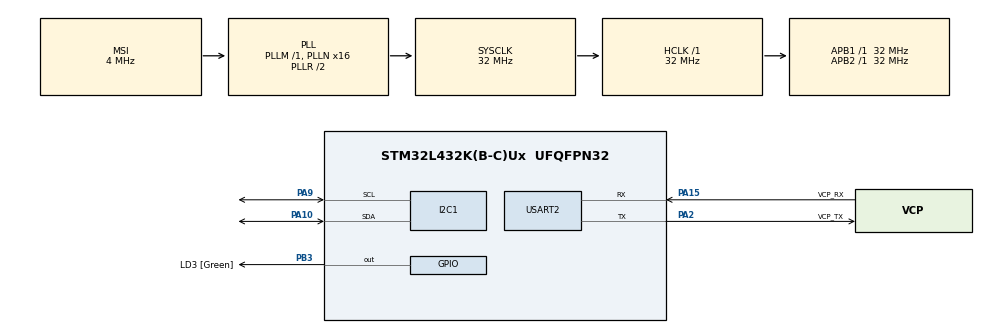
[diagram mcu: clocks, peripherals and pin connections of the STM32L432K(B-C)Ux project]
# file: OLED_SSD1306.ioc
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I2C1.Timing=0x00707CBB
Mcu.Family=STM32L4
Mcu.Name=STM32L432K(B-C)Ux
Mcu.Package=UFQFPN32
NVIC.PriorityGroup=NVIC_PRIORITYGROUP_4
PA0.GPIO_Label=MCO [High speed clock in]
PA0.Mode=HSE-External-Clock-Source-for-LittleOrca
PA0.Signal=RCC_CK_IN
PA10.GPIO_Pu=GPIO_PULLUP
PA10.Mode=I2C
PA10.Signal=I2C1_SDA
PA13\ (JTMS-SWDIO).GPIO_Label=SWDIO
PA13\ (JTMS-SWDIO).Mode=Serial_Wire
PA13\ (JTMS-SWDIO).Signal=SYS_JTMS-SWDIO
PA14\ (JTCK-SWCLK).GPIO_Label=SWCLK
PA14\ (JTCK-SWCLK).Mode=Serial_Wire
PA14\ (JTCK-SWCLK).Signal=SYS_JTCK-SWCLK
PA15\ (JTDI).GPIO_Label=VCP_RX
PA15\ (JTDI).Mode=Asynchronous
PA15\ (JTDI).Signal=USART2_RX
PA2.GPIO_Label=VCP_TX
PA2.Mode=Asynchronous
PA2.Signal=USART2_TX
PA9.GPIO_Pu=GPIO_PULLUP
PA9.Mode=I2C
PA9.Signal=I2C1_SCL
PB3\ (JTDO-TRACESWO).GPIO_Label=LD3 [Green]
PB3\ (JTDO-TRACESWO).Signal=GPIO_Output
PC14-OSC32_IN\ (PC14).Mode=LSE-External-Oscillator
PC14-OSC32_IN\ (PC14).Signal=RCC_OSC32_IN
PC15-OSC32_OUT\ (PC15).Mode=LSE-External-Oscillator
PC15-OSC32_OUT\ (PC15).Signal=RCC_OSC32_OUT
ProjectManager.HeapSize=0x200
ProjectManager.StackSize=0x400
ProjectManager.TargetToolchain=STM32CubeIDE
RCC.AHBFreq_Value=32000000
RCC.APB1Freq_Value=32000000
RCC.APB1TimFreq_Value=32000000
RCC.APB2Freq_Value=32000000
RCC.APB2TimFreq_Value=32000000
RCC.CortexFreq_Value=32000000
RCC.HCLKFreq_Value=32000000
RCC.HSE_VALUE=8000000
RCC.HSI16_VALUE=16000000
RCC.HSI48_VALUE=48000000
RCC.HSI_VALUE=16000000
RCC.MSI_VALUE=4000000
RCC.PLLMUL=RCC_PLLMUL_4
RCC.PLLN=16
RCC.SYSCLKFreq_VALUE=32000000
RCC.SYSCLKSource=RCC_SYSCLKSOURCE_PLLCLK
RCC.VCOOutputFreq_Value=64000000
USART2.VirtualMode-Asynchronous=VM_ASYNC
board=NUCLEO-L432KC

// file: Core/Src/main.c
/* USER CODE BEGIN Header */
/**
  ******************************************************************************
  * @file           : main.c
  * @brief          : Main program body
  ******************************************************************************
  * @attention
  *
  * Copyright (c) 2022 STMicroelectronics.
  * All rights reserved.
  *
  * This software is licensed under terms that can be found in the LICENSE file
  * in the root directory of this software component.
  * If no LICENSE file comes with this software, it is provided AS-IS.
  *
  ******************************************************************************
  */
/* USER CODE END Header */
#include "main.h"

/* USER CODE BEGIN Includes */
#include "OLED_SSD1306.h"
/* USER CODE END Includes */

I2C_HandleTypeDef hi2c1;

UART_HandleTypeDef huart2;

void SystemClock_Config(void);
static void MX_GPIO_Init(void);
static void MX_USART2_UART_Init(void);
static void MX_I2C1_Init(void);
/* USER CODE BEGIN PFP */
//image example
uint8_t image[] = {
0x00, 0x00, 0x00, 0x00, 0x00, 0x00, 0x00, 0x00, 0x00, 0x00, 0x00, 0x00, 0x00, 0x00, 0x00, 0x00,
0x00, 0x00, 0x00, 0x00, 0x00, 0x00, 0x00, 0x00, 0x00, 0x00, 0x00, 0x00, 0x00, 0x00, 0x00, 0x00,
0x00, 0x00, 0x00, 0x00, 0x00, 0x00, 0x00, 0x00, 0x00, 0x00, 0x00, 0x00, 0x00, 0x00, 0x00, 0x00,
0x00, 0x00, 0x00, 0x00, 0x00, 0x00, 0x00, 0x00, 0x00, 0x00, 0x00, 0x00, 0x00, 0x00, 0x00, 0x00,
0x00, 0x00, 0x00, 0x00, 0x00, 0x00, 0x00, 0x00, 0x00, 0x00, 0x00, 0x00, 0x00, 0x00, 0x00, 0x00,
0x00, 0x00, 0x00, 0x00, 0x00, 0x00, 0x00, 0x00, 0x00, 0x00, 0x00, 0x00, 0x00, 0x00, 0x00, 0x00,
0x00, 0x00, 0x00, 0x00, 0x00, 0x00, 0x00, 0x00, 0x00, 0x00, 0x00, 0x00, 0x00, 0x00, 0x00, 0x00,
0x00, 0x00, 0x00, 0x00, 0x00, 0x00, 0x00, 0x00, 0x00, 0x00, 0x00, 0x00, 0x00, 0x00, 0x00, 0x00,
0x00, 0x00, 0x00, 0x00, 0x00, 0x00, 0x00, 0x00, 0x00, 0x00, 0x00, 0x00, 0x00, 0x00, 0x00, 0x00,
0x00, 0x00, 0x00, 0x00, 0x00, 0x00, 0x00, 0x00, 0x00, 0x00, 0x00, 0x00, 0x00, 0x00, 0x00, 0x00,
0x00, 0x00, 0x00, 0x00, 0x00, 0x00, 0x00, 0x00, 0x00, 0x00, 0x00, 0x00, 0x00, 0x00, 0x00, 0x00,
0x00, 0x00, 0x00, 0x00, 0x00, 0x00, 0x00, 0x00, 0x00, 0x00, 0x00, 0x00, 0x00, 0x00, 0x00, 0x00,
0x00, 0x00, 0x00, 0x00, 0x00, 0x00, 0x00, 0x00, 0x00, 0x00, 0x00, 0x00, 0x00, 0x00, 0x00, 0x00,
0x00, 0x00, 0x00, 0x00, 0x00, 0x00, 0x00, 0x3f, 0x80, 0x00, 0x00, 0x00, 0x00, 0x00, 0x00, 0x00,
0x00, 0x00, 0x00, 0x00, 0x00, 0x00, 0x07, 0x80, 0x1e, 0x00, 0x00, 0x00, 0x00, 0x00, 0x00, 0x00,
0x00, 0x00, 0x00, 0x00, 0x00, 0x00, 0x18, 0x00, 0x01, 0x80, 0x00, 0x00, 0x00, 0x00, 0x00, 0x00,
0x00, 0x00, 0x00, 0x00, 0x00, 0x00, 0xc0, 0x00, 0x00, 0x30, 0x00, 0x00, 0x00, 0x00, 0x00, 0x00,
0x00, 0x00, 0x00, 0x00, 0x00, 0x01, 0x00, 0x00, 0x00, 0x0c, 0x00, 0x00, 0x00, 0x00, 0x00, 0x00,
0x00, 0x00, 0x00, 0x00, 0x00, 0x06, 0x00, 0x00, 0x00, 0x02, 0x00, 0x00, 0x00, 0x00, 0x00, 0x00,
0x00, 0x00, 0x00, 0x00, 0x00, 0x08, 0x00, 0x00, 0x00, 0x01, 0x00, 0x00, 0x00, 0x00, 0x00, 0x00,
0x00, 0x00, 0x00, 0x00, 0x00, 0x30, 0x00, 0x00, 0x00, 0x00, 0xc0, 0x00, 0x00, 0x00, 0x00, 0x00,
0x00, 0x00, 0x00, 0x00, 0x00, 0x60, 0x00, 0x00, 0x00, 0x00, 0x40, 0x00, 0x00, 0x00, 0x00, 0x00,
0x00, 0x00, 0x00, 0x00, 0x00, 0x40, 0x00, 0x00, 0x00, 0x00, 0x20, 0x00, 0x00, 0x00, 0x00, 0x00,
0x00, 0x00, 0x00, 0x00, 0x00, 0x80, 0x00, 0x00, 0x00, 0x00, 0x10, 0x00, 0x00, 0x00, 0x00, 0x00,
0x00, 0x00, 0x00, 0x00, 0x00, 0x80, 0x00, 0x00, 0x00, 0x00, 0x08, 0x00, 0x00, 0x00, 0x00, 0x00,
0x00, 0x00, 0x00, 0x00, 0x01, 0x00, 0x00, 0x00, 0x00, 0x00, 0x08, 0x00, 0x00, 0x00, 0x00, 0x00,
0x00, 0x00, 0x00, 0x00, 0x01, 0x00, 0x00, 0x00, 0x00, 0x00, 0x04, 0x00, 0x00, 0x00, 0x00, 0x00,
0x00, 0x00, 0x00, 0x00, 0x02, 0x00, 0x00, 0x30, 0xe0, 0x00, 0x04, 0x00, 0x00, 0x00, 0x00, 0x00,
0x00, 0x00, 0x00, 0x00, 0x02, 0x00, 0x00, 0x78, 0xe0, 0x00, 0x06, 0x00, 0x00, 0x00, 0x00, 0x00,
0x00, 0x00, 0x00, 0x00, 0x02, 0x00, 0x00, 0x78, 0xe0, 0x00, 0x02, 0x00, 0x00, 0x00, 0x00, 0x00,
0x00, 0x00, 0x00, 0x00, 0x02, 0x00, 0x00, 0x30, 0xe0, 0x00, 0x02, 0x00, 0x00, 0x00, 0x00, 0x00,
0x00, 0x00, 0x00, 0x00, 0x04, 0x00, 0x00, 0x00, 0x00, 0x00, 0x03, 0x00, 0x00, 0x00, 0x00, 0x00,
0x00, 0x00, 0x00, 0x00, 0x04, 0x00, 0x00, 0x00, 0x00, 0x00, 0x03, 0x00, 0x00, 0x00, 0x00, 0x00,
0x00, 0x00, 0x00, 0x00, 0x04, 0x00, 0x00, 0x00, 0x00, 0x00, 0x03, 0x00, 0x00, 0x00, 0x00, 0x00,
0x00, 0x00, 0x00, 0x00, 0x04, 0x02, 0x00, 0x00, 0x00, 0x00, 0x03, 0x00, 0x00, 0x00, 0x00, 0x00,
0x00, 0x00, 0x00, 0x00, 0x04, 0x02, 0x00, 0x00, 0x00, 0x00, 0x03, 0x00, 0x00, 0x00, 0x00, 0x00,
0x00, 0x00, 0x00, 0x00, 0x06, 0x02, 0x00, 0x00, 0x00, 0x02, 0x03, 0x00, 0x00, 0x00, 0x00, 0x00,
0x00, 0x00, 0x00, 0x00, 0x02, 0x02, 0x00, 0x00, 0x00, 0x02, 0x02, 0x00, 0x00, 0x00, 0x00, 0x00,
0x00, 0x00, 0x00, 0x00, 0x02, 0x01, 0x00, 0x00, 0x00, 0x02, 0x02, 0x00, 0x00, 0x00, 0x00, 0x00,
0x00, 0x00, 0x00, 0x00, 0x03, 0x01, 0x00, 0x00, 0x00, 0x04, 0x06, 0x00, 0x00, 0x00, 0x00, 0x00,
0x00, 0x00, 0x00, 0x00, 0x01, 0x00, 0x80, 0x00, 0x00, 0x0c, 0x04, 0x00, 0x00, 0x00, 0x00, 0x00,
0x00, 0x00, 0x00, 0x00, 0x01, 0x80, 0x40, 0x00, 0x00, 0x18, 0x04, 0x00, 0x00, 0x00, 0x00, 0x00,
0x00, 0x00, 0x00, 0x00, 0x01, 0x80, 0x20, 0x00, 0x00, 0x30, 0x08, 0x00, 0x00, 0x00, 0x00, 0x00,
0x00, 0x00, 0x00, 0x00, 0x00, 0xc0, 0x18, 0x00, 0x00, 0xc0, 0x08, 0x00, 0x00, 0x00, 0x00, 0x00,
0x00, 0x00, 0x00, 0x00, 0x00, 0x40, 0x07, 0x80, 0x0e, 0x00, 0x10, 0x00, 0x00, 0x00, 0x00, 0x00,
0x00, 0x00, 0x00, 0x00, 0x00, 0x60, 0x00, 0x7f, 0xf0, 0x00, 0x10, 0x00, 0x00, 0x00, 0x00, 0x00,
0x00, 0x00, 0x00, 0x00, 0x00, 0x30, 0x00, 0x00, 0x00, 0x00, 0x60, 0x00, 0x00, 0x00, 0x00, 0x00,
0x00, 0x00, 0x00, 0x00, 0x00, 0x18, 0x00, 0x00, 0x00, 0x00, 0x40, 0x00, 0x00, 0x00, 0x00, 0x00,
0x00, 0x00, 0x00, 0x00, 0x00, 0x06, 0x00, 0x00, 0x00, 0x01, 0x80, 0x00, 0x00, 0x00, 0x00, 0x00,
0x00, 0x00, 0x00, 0x00, 0x00, 0x03, 0x00, 0x00, 0x00, 0x03, 0x00, 0x00, 0x00, 0x00, 0x00, 0x00,
0x00, 0x00, 0x00, 0x00, 0x00, 0x01, 0xc0, 0x00, 0x00, 0x0c, 0x00, 0x00, 0x00, 0x00, 0x00, 0x00,
0x00, 0x00, 0x00, 0x00, 0x00, 0x00, 0x30, 0x00, 0x00, 0x30, 0x00, 0x00, 0x00, 0x00, 0x00, 0x00,
0x00, 0x00, 0x00, 0x00, 0x00, 0x00, 0x0e, 0x00, 0x01, 0xc0, 0x00, 0x00, 0x00, 0x00, 0x00, 0x00,
0x00, 0x00, 0x00, 0x00, 0x00, 0x00, 0x01, 0xf8, 0x3e, 0x00, 0x00, 0x00, 0x00, 0x00, 0x00, 0x00,
0x00, 0x00, 0x00, 0x00, 0x00, 0x00, 0x00, 0x03, 0x00, 0x00, 0x00, 0x00, 0x00, 0x00, 0x00, 0x00,
0x00, 0x00, 0x00, 0x00, 0x00, 0x00, 0x00, 0x00, 0x00, 0x00, 0x00, 0x00, 0x00, 0x00, 0x00, 0x00,
0x00, 0x00, 0x00, 0x00, 0x00, 0x00, 0x00, 0x00, 0x00, 0x00, 0x00, 0x00, 0x00, 0x00, 0x00, 0x00,
0x00, 0x00, 0x00, 0x00, 0x00, 0x00, 0x00, 0x00, 0x00, 0x00, 0x00, 0x00, 0x00, 0x00, 0x00, 0x00,
0x00, 0x00, 0x00, 0x00, 0x00, 0x00, 0x00, 0x00, 0x00, 0x00, 0x00, 0x00, 0x00, 0x00, 0x00, 0x00,
0x00, 0x00, 0x00, 0x00, 0x00, 0x00, 0x00, 0x00, 0x00, 0x00, 0x00, 0x00, 0x00, 0x00, 0x00, 0x00,
0x00, 0x00, 0x00, 0x00, 0x00, 0x00, 0x00, 0x00, 0x00, 0x00, 0x00, 0x00, 0x00, 0x00, 0x00, 0x00,
0x00, 0x00, 0x00, 0x00, 0x00, 0x00, 0x00, 0x00, 0x00, 0x00, 0x00, 0x00, 0x00, 0x00, 0x00, 0x00,
0x00, 0x00, 0x00, 0x00, 0x00, 0x00, 0x00, 0x00, 0x00, 0x00, 0x00, 0x00, 0x00, 0x00, 0x00, 0x00,
0x00, 0x00, 0x00, 0x00, 0x00, 0x00, 0x00, 0x00, 0x00, 0x00, 0x00, 0x00, 0x00, 0x00, 0x00, 0x00};
/* USER CODE END PFP */

int main(void)
{

  /* MCU Configuration--------------------------------------------------------*/

  /* Reset of all peripherals, Initializes the Flash interface and the Systick. */
  HAL_Init();

  /* Configure the system clock */
  SystemClock_Config();

  /* Initialize all configured peripherals */
  MX_I2C1_Init();
  MX_GPIO_Init();
  MX_USART2_UART_Init();
  /* USER CODE BEGIN 2 */
  OLED_1306_Init(&hi2c1, 0x3C, 128, 64, 0);

  OLED_1306_DrawImage(image, 0, 0, 128,64, WHITE);
  OLED_1306_Display();

  HAL_Delay(2000);

  OLED_1306_SetScreenOn(0);

  HAL_Delay(2000);

  OLED_1306_SetScreenOn(1);

  OLED_1306_SetContrast(0x99);
  OLED_1306_FillScreen(BLACK);
  OLED_1306_DrawPixel(1, 1, WHITE);
  OLED_1306_DrawCircle(70,30,10,WHITE);
  OLED_1306_Display();

  HAL_Delay(2000);

  OLED_1306_SetContrast(0xFF);
  OLED_1306_FillScreen(BLACK);
  OLED_1306_Display();

  OLED_1306_DrawHorLine(20, 20, 69, WHITE);
  OLED_1306_DrawVerLine(75, 10, 58, WHITE);
  OLED_1306_Display();

  HAL_Delay(2000);

  OLED_1306_FillScreen(BLACK);
  OLED_1306_Display();

  OLED_1306_DrawRectangle(10, 10, 40, 40, WHITE, BLACK);
  OLED_1306_Display();

  HAL_Delay(2000);

  OLED_1306_FillScreen(BLACK);
  OLED_1306_Display();

  OLED_1306_DrawCharacter(20, 20,'A', 1, WHITE);
  OLED_1306_DrawString(40, 40, "ASD", 2, WHITE);
  OLED_1306_Display();

  HAL_Delay(2000);

  OLED_1306_FillScreen(BLACK);
  OLED_1306_Display();

  //rose
  OLED_1306_DrawRectangle(56, 10, 60, 14, WHITE, BLACK);
  OLED_1306_DrawRectangle(61, 10, 65, 14, WHITE, BLACK);
  OLED_1306_DrawRectangle(66, 10, 70, 14, WHITE, BLACK);
  OLED_1306_DrawRectangle(56, 15, 60, 19, WHITE, BLACK);
  OLED_1306_DrawRectangle(61, 15, 65, 19, WHITE, BLACK);
  OLED_1306_DrawRectangle(66, 15, 70, 19, WHITE, BLACK);
  OLED_1306_DrawRectangle(56, 20, 60, 24, WHITE, BLACK);
  OLED_1306_DrawRectangle(61, 20, 65, 24, WHITE, BLACK);
  OLED_1306_DrawRectangle(66, 20, 70, 24, WHITE, BLACK);
  OLED_1306_DrawRectangle(61, 25, 65, 29, WHITE, BLACK);
  OLED_1306_DrawHorLine(55, 35, 72, WHITE);
  OLED_1306_DrawHorLine(58, 42, 69, WHITE);
  OLED_1306_DrawVerLine(63, 30, 60, WHITE);

  OLED_1306_Display();

  HAL_Delay(2000);

  OLED_1306_InvertColors();
  OLED_1306_InvertVertically();

  /* USER CODE END 2 */

  /* Infinite loop */
  while (1)
  {

  }
}

void SystemClock_Config(void)
{
  RCC_OscInitTypeDef RCC_OscInitStruct = {0};
  RCC_ClkInitTypeDef RCC_ClkInitStruct = {0};

  /** Configure the main internal regulator output voltage
  */
  if (HAL_PWREx_ControlVoltageScaling(PWR_REGULATOR_VOLTAGE_SCALE1) != HAL_OK)
  {
    Error_Handler();
  }
  /** Configure LSE Drive Capability
  */
  HAL_PWR_EnableBkUpAccess();
  __HAL_RCC_LSEDRIVE_CONFIG(RCC_LSEDRIVE_LOW);
  /** Initializes the RCC Oscillators according to the specified parameters
  * in the RCC_OscInitTypeDef structure.
  */
  RCC_OscInitStruct.OscillatorType = RCC_OSCILLATORTYPE_LSE|RCC_OSCILLATORTYPE_MSI;
  RCC_OscInitStruct.LSEState = RCC_LSE_ON;
  RCC_OscInitStruct.MSIState = RCC_MSI_ON;
  RCC_OscInitStruct.MSICalibrationValue = 0;
  RCC_OscInitStruct.MSIClockRange = RCC_MSIRANGE_6;
  RCC_OscInitStruct.PLL.PLLState = RCC_PLL_ON;
  RCC_OscInitStruct.PLL.PLLSource = RCC_PLLSOURCE_MSI;
  RCC_OscInitStruct.PLL.PLLM = 1;
  RCC_OscInitStruct.PLL.PLLN = 16;
  RCC_OscInitStruct.PLL.PLLP = RCC_PLLP_DIV7;
  RCC_OscInitStruct.PLL.PLLQ = RCC_PLLQ_DIV2;
  RCC_OscInitStruct.PLL.PLLR = RCC_PLLR_DIV2;
  if (HAL_RCC_OscConfig(&RCC_OscInitStruct) != HAL_OK)
  {
    Error_Handler();
  }
  /** Initializes the CPU, AHB and APB buses clocks
  */
  RCC_ClkInitStruct.ClockType = RCC_CLOCKTYPE_HCLK|RCC_CLOCKTYPE_SYSCLK
                              |RCC_CLOCKTYPE_PCLK1|RCC_CLOCKTYPE_PCLK2;
  RCC_ClkInitStruct.SYSCLKSource = RCC_SYSCLKSOURCE_PLLCLK;
  RCC_ClkInitStruct.AHBCLKDivider = RCC_SYSCLK_DIV1;
  RCC_ClkInitStruct.APB1CLKDivider = RCC_HCLK_DIV1;
  RCC_ClkInitStruct.APB2CLKDivider = RCC_HCLK_DIV1;

  if (HAL_RCC_ClockConfig(&RCC_ClkInitStruct, FLASH_LATENCY_1) != HAL_OK)
  {
    Error_Handler();
  }
  /** Enable MSI Auto calibration
  */
  HAL_RCCEx_EnableMSIPLLMode();
}

static void MX_I2C1_Init(void)
{

  /* USER CODE BEGIN I2C1_Init 0 */
	__HAL_RCC_GPIOA_CLK_ENABLE();
  /* USER CODE END I2C1_Init 0 */

  hi2c1.Instance = I2C1;
  hi2c1.Init.Timing = 0x00707CBB;
  hi2c1.Init.OwnAddress1 = 0;
  hi2c1.Init.AddressingMode = I2C_ADDRESSINGMODE_7BIT;
  hi2c1.Init.DualAddressMode = I2C_DUALADDRESS_DISABLE;
  hi2c1.Init.OwnAddress2 = 0;
  hi2c1.Init.OwnAddress2Masks = I2C_OA2_NOMASK;
  hi2c1.Init.GeneralCallMode = I2C_GENERALCALL_DISABLE;
  hi2c1.Init.NoStretchMode = I2C_NOSTRETCH_DISABLE;
  if (HAL_I2C_Init(&hi2c1) != HAL_OK)
  {
    Error_Handler();
  }
  /** Configure Analogue filter
  */
  if (HAL_I2CEx_ConfigAnalogFilter(&hi2c1, I2C_ANALOGFILTER_ENABLE) != HAL_OK)
  {
    Error_Handler();
  }
  /** Configure Digital filter
  */
  if (HAL_I2CEx_ConfigDigitalFilter(&hi2c1, 0) != HAL_OK)
  {
    Error_Handler();
  }

}

static void MX_USART2_UART_Init(void)
{

  huart2.Instance = USART2;
  huart2.Init.BaudRate = 115200;
  huart2.Init.WordLength = UART_WORDLENGTH_8B;
  huart2.Init.StopBits = UART_STOPBITS_1;
  huart2.Init.Parity = UART_PARITY_NONE;
  huart2.Init.Mode = UART_MODE_TX_RX;
  huart2.Init.HwFlowCtl = UART_HWCONTROL_NONE;
  huart2.Init.OverSampling = UART_OVERSAMPLING_16;
  huart2.Init.OneBitSampling = UART_ONE_BIT_SAMPLE_DISABLE;
  huart2.AdvancedInit.AdvFeatureInit = UART_ADVFEATURE_NO_INIT;
  if (HAL_UART_Init(&huart2) != HAL_OK)
  {
    Error_Handler();
  }

}

static void MX_GPIO_Init(void)
{
  GPIO_InitTypeDef GPIO_InitStruct = {0};

  /* GPIO Ports Clock Enable */
  __HAL_RCC_GPIOC_CLK_ENABLE();
  __HAL_RCC_GPIOA_CLK_ENABLE();
  __HAL_RCC_GPIOB_CLK_ENABLE();

  /*Configure GPIO pin Output Level */
  HAL_GPIO_WritePin(LD3_GPIO_Port, LD3_Pin, GPIO_PIN_RESET);

  /*Configure GPIO pin : LD3_Pin */
  GPIO_InitStruct.Pin = LD3_Pin;
  GPIO_InitStruct.Mode = GPIO_MODE_OUTPUT_PP;
  GPIO_InitStruct.Pull = GPIO_NOPULL;
  GPIO_InitStruct.Speed = GPIO_SPEED_FREQ_LOW;
  HAL_GPIO_Init(LD3_GPIO_Port, &GPIO_InitStruct);

}

void Error_Handler(void)
{
  __disable_irq();
  while (1)
  {
  }
}
